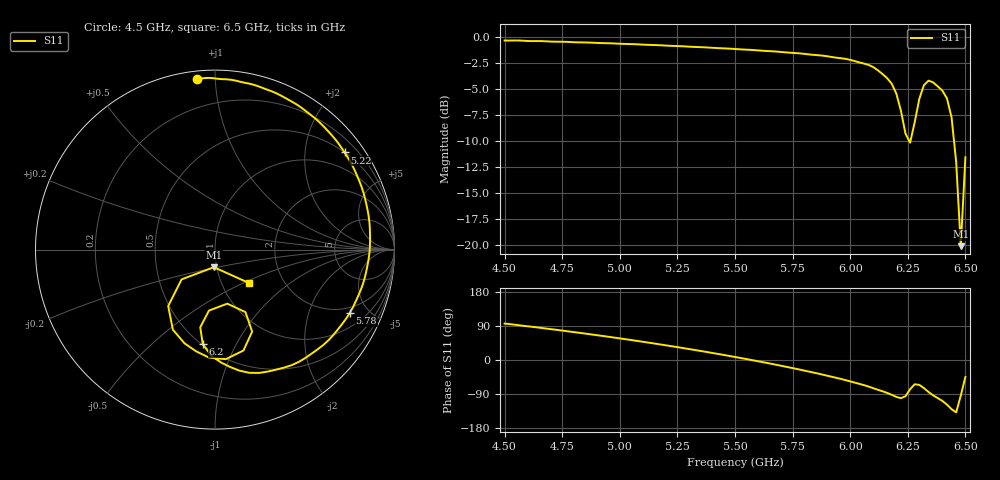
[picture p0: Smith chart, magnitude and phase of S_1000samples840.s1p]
! TOUCHSTONE file generated by CST MICROWAVE STUDIO
! Date and time: Sat Oct 29 13:51:00 2022
! Project name: L.cst
! Parameters = {Di=1.27; Epsilon_r=1.56; InnerDiameter=1.27; Length=2; Lf=10; Lg=60; OuterConductorThickness=0.2921; OuterDiameter=3.6; Wf=3; Wp=41.2; de=1.5; df=6.8; g=0.8; gx=4.44634; gy=4.2729; h=2.34; hf=1.524; px=11.6828; py=14.8615; w=9.7; wx=7.2365; wy=10.5886}
! Header version: 2018
! Port assignment regex: !\s*Touchstone port\s*([0-9]+)\s*=\s*(CST MWS port|CST DS port)\s*([0-9]+|Zmin|Zmax)\s*\(\"(.*)\"\)(\s*mode\s*([0-9]+))?.*
! Touchstone port assignment:
! Touchstone port 1 = CST MWS port 1 ("")
# GHz S DB R 50
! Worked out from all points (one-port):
!   101 points, 4.5 GHz to 6.5 GHz, reference 50 ohm
!   lowest |S11| = -20.2 dB at 6.48 GHz (marker M1), VSWR 1.22, Z = 48.4 - j9.59 ohm
!   |S11| at or under -10 dB: 6.255288 GHz to 6.262082 GHz (6.794 MHz wide, 0.109 % of centre); 6.45 GHz to end of sweep
!   S11 on the Smith chart (normalised r, x): 4.5 GHz: 0.04, +0.90; 5.22 GHz: 0.50, +2.92; 5.78 GHz: 1.67, -3.78; 6.2 GHz: 0.50, -0.74; 6.5 GHz: 1.34, -0.53
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4.5  -0.38 96.1
4.76  -0.51 76.9
5  -0.69 57.0
5.22  -0.89 36.8
5.26  -0.93 33.0
5.38  -1.05 20.8
5.5  -1.20 8.0
5.64  -1.39 -7.9
5.76  -1.59 -22.6
5.78  -1.62 -25.2
5.88  -1.84 -38.5
6  -2.24 -56.5
6.1  -2.94 -74.4
6.16  -4.00 -86.7
6.2  -5.48 -97.3
6.22  -7.12 -100.7
6.24  -9.33 -95.7
6.26  -10.21 -77.2
6.28  -8.24 -64.0
6.3  -5.99 -65.6
6.32  -4.67 -74.3
6.34  -4.24 -84.4
6.38  -4.79 -100.5
6.42  -5.95 -117.8
6.44  -7.78 -129.7
6.46  -12.06 -138.3
6.48  -20.15 -93.8
6.5  -11.61 -44.7
